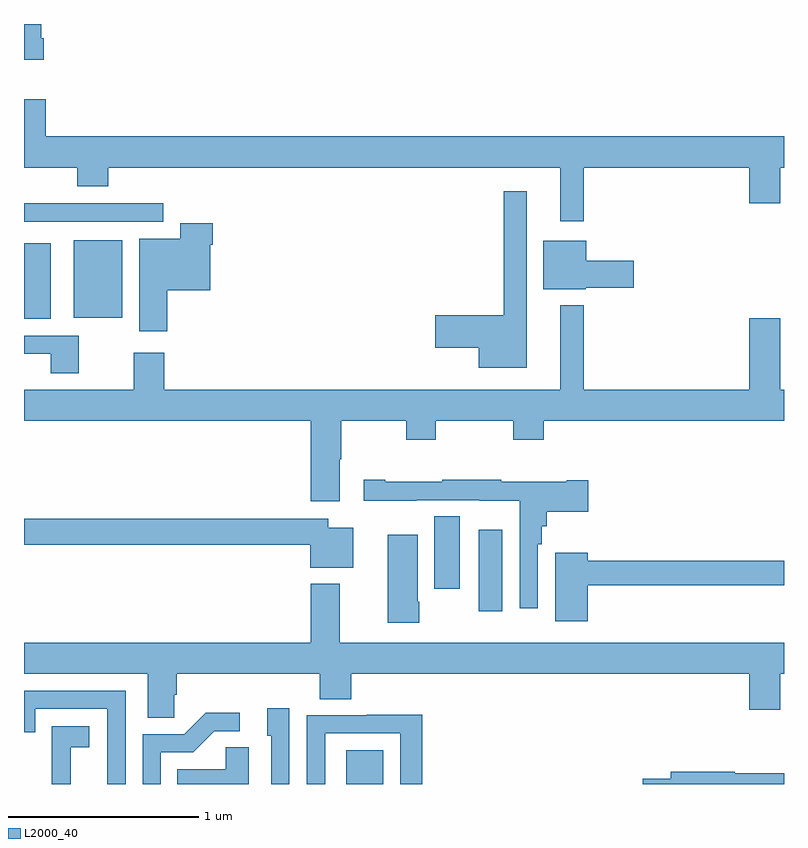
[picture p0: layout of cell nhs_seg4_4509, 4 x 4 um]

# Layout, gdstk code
import gdstk
lib = gdstk.Library(unit=1e-6, precision=1e-09)
def R(c, l, rs):  # rectangles x0, y0, x1, y1
    for r in rs: c.add(gdstk.rectangle(r[:2], r[2:], *l))
def P(c, l, *ps):  # polygons
    for p in ps: c.add(gdstk.Polygon(p, *l))
L2000_40 = (2000, 40)

nhs_seg4_4509 = lib.new_cell('nhs_seg4_4509')
R(nhs_seg4_4509, L2000_40, [(354.695,802.9,354.892,803.077), (355.394,803.808,355.516,804.238), (355.16,803.928,355.294,804.308), (353,805.349,353.14,805.747), (353.261,805.355,353.518,805.762), (353,805.86,353.734,805.956)])
P(nhs_seg4_4509, L2000_40, [(353.105,806.824),(353.092,806.824),(353.092,806.9),(353,806.9),(353,806.712),(353.105,806.712)],
  [(355.945,806.144),(356.816,806.144),(356.816,805.956),(356.98,805.956),(356.98,806.144),(357,806.144),(357,806.308),(353.114,806.308),(353.114,806.503),(353,806.503),(353,806.144),(353.279,806.144),(353.279,806.045),(353.444,806.045),(353.444,806.144),(355.823,806.144),(355.823,805.863),(355.945,805.863)],
  [(355.645,806.02),(355.524,806.02),(355.524,805.367),(355.164,805.367),(355.164,805.196),(355.394,805.196),(355.394,805.091),(355.645,805.091)],
  [(353.753,805.499),(353.98,805.499),(353.98,805.739),(353.993,805.739),(353.993,805.852),(353.822,805.852),(353.822,805.771),(353.606,805.771),(353.606,805.284),(353.753,805.284)],
  [(355.956,805.511),(356.209,805.511),(356.209,805.653),(355.96,805.653),(355.96,805.759),(355.733,805.759),(355.733,805.505),(355.956,805.505)],
  [(354.661,804.608),(354.669,804.608),(354.669,804.812),(355.012,804.812),(355.012,804.713),(355.167,804.713),(355.167,804.812),(355.576,804.812),(355.576,804.713),(355.736,804.713),(355.736,804.812),(357,804.812),(357,804.976),(356.98,804.976),(356.98,805.351),(356.816,805.351),(356.816,804.976),(355.945,804.976),(355.945,805.42),(355.823,805.42),(355.823,804.976),(353.738,804.976),(353.738,805.171),(353.578,805.171),(353.578,804.976),(353,804.976),(353,804.812),(354.509,804.812),(354.509,804.387),(354.661,804.387)],
  [(353.289,805.26),(353,805.26),(353,805.164),(353.141,805.164),(353.141,805.062),(353.289,805.062)],
  [(355.704,804.161),(355.724,804.161),(355.724,804.257),(355.751,804.257),(355.751,804.332),(355.969,804.332),(355.969,804.498),(355.856,804.498),(355.856,804.492),(355.511,804.492),(355.511,804.502),(355.201,804.502),(355.201,804.492),(354.901,804.492),(354.901,804.502),(354.789,804.502),(354.789,804.392),(355.064,804.392),(355.064,804.393),(355.398,804.393),(355.398,804.392),(355.608,804.392),(355.608,803.826),(355.704,803.826)],
  [(354.733,804.25),(354.6,804.25),(354.6,804.296),(353,804.296),(353,804.16),(354.506,804.16),(354.506,804.038),(354.733,804.038)],
  [(355.08,803.86),(355.072,803.86),(355.072,804.211),(354.914,804.211),(354.914,803.748),(355.08,803.748)],
  [(355.967,803.946),(357,803.946),(357,804.074),(355.967,804.074),(355.967,804.118),(355.796,804.118),(355.796,803.757),(355.967,803.757)],
  [(353.79,803.371),(353.804,803.371),(353.804,803.48),(354.557,803.48),(354.557,803.347),(354.722,803.347),(354.722,803.48),(356.816,803.48),(356.816,803.292),(356.98,803.292),(356.98,803.48),(357,803.48),(357,803.644),(354.661,803.644),(354.661,803.953),(354.509,803.953),(354.509,803.644),(353,803.644),(353,803.48),(353.651,803.48),(353.651,803.248),(353.79,803.248)],
  [(353.535,803.391),(353,803.391),(353,803.172),(353.058,803.172),(353.058,803.295),(353.439,803.295),(353.439,802.9),(353.535,802.9)],
  [(354.396,803.299),(354.281,803.299),(354.281,803.154),(354.3,803.154),(354.3,802.9),(354.396,802.9)],
  [(353.721,803.067),(353.89,803.067),(354.001,803.178),(354.136,803.178),(354.136,803.276),(353.957,803.276),(353.844,803.163),(353.625,803.163),(353.625,802.9),(353.721,802.9)],
  [(354.585,803.166),(354.981,803.166),(354.981,802.9),(355.097,802.9),(355.097,803.264),(354.805,803.264),(354.805,803.262),(354.489,803.262),(354.489,802.9),(354.585,802.9)],
  [(353.246,803.093),(353.344,803.093),(353.344,803.203),(353.146,803.203),(353.146,802.997),(353.147,802.997),(353.147,802.9),(353.246,802.9)],
  [(354.184,803.093),(354.063,803.093),(354.063,802.978),(353.806,802.978),(353.806,802.9),(354.184,802.9)],
  [(357,802.957),(356.74,802.957),(356.74,802.964),(356.405,802.964),(356.405,802.928),(356.256,802.928),(356.256,802.9),(357,802.9)])

lib.write_gds('nhs_seg4_4509.gds')
